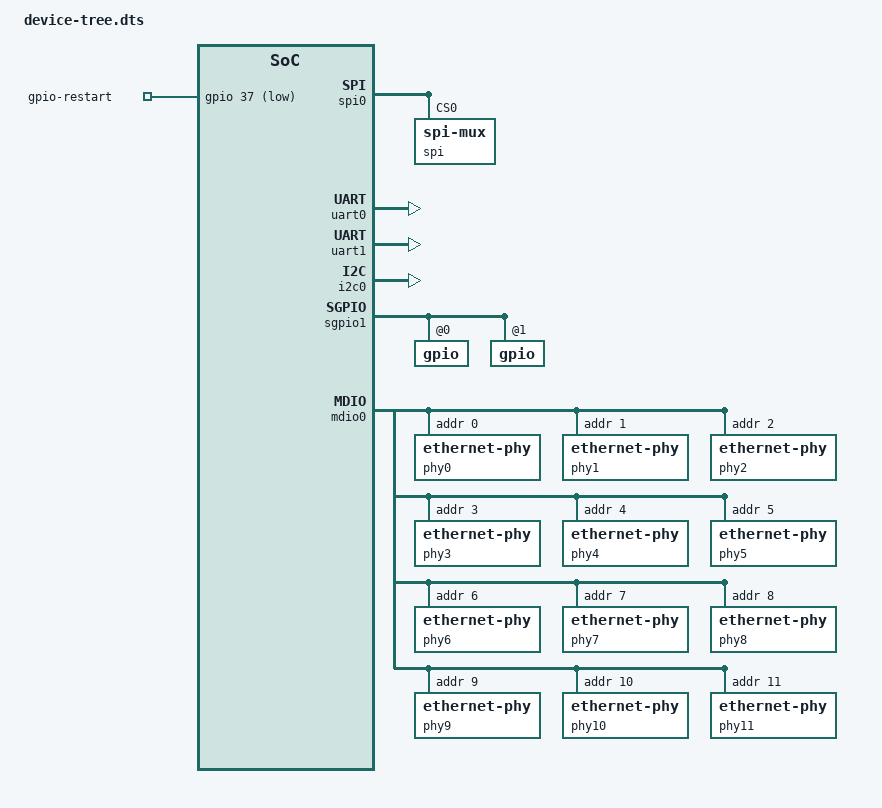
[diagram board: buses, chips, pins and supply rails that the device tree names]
/dts-v1/;

#include "microchip/sparx5.dtsi"
#include <dt-bindings/interrupt-controller/arm-gic.h>

&cpu0 {
	enable-method = "spin-table";
	cpu-release-addr = <0x0 0x0000fff8>;
};

&cpu1 {
	enable-method = "spin-table";
	cpu-release-addr = <0x0 0x0000fff8>;
};

/ {
	gpio-restart {
		compatible = "gpio-restart";
		gpios = <&gpio 37 GPIO_ACTIVE_LOW>;
		priority = <200>;
	};

	psci {
		status = "disabled";
	};
};

&spi0 {
	pinctrl-0 = <&si2_pins>;
	pinctrl-names = "default";
	status = "okay";
	spi@0 {
		compatible = "spi-mux";
		mux-controls = <&mux>;
		#address-cells = <1>;
		#size-cells = <0>;
		reg = <0>; /* CS0 */
		system_flash: spi-flash@9 {
			compatible = "jedec,spi-nor";
			spi-max-frequency = <8000000>;
			reg = <0x9>; /* SPI */
			spi-tx-bus-width = <4>;
			spi-rx-bus-width = <4>;
			#address-cells = <1>;
			#size-cells = <1>;
		};
	};
};

&uart0 {
	status = "okay";
};

&uart1 {
	status = "okay";
};

&i2c0 {
	status = "okay";
};


&gpio {
	i2cmux_pins_i: i2cmux-pins-i {
	       pins = "GPIO_35", "GPIO_36",
		      "GPIO_50", "GPIO_51";
		function = "twi_scl_m";
		output-low;
	};
	i2cmux_s29: i2cmux-0 {
		pins = "GPIO_35";
		function = "twi_scl_m";
		output-high;
	};
	i2cmux_s30: i2cmux-1 {
		pins = "GPIO_36";
		function = "twi_scl_m";
		output-high;
	};
	i2cmux_s31: i2cmux-2 {
		pins = "GPIO_50";
		function = "twi_scl_m";
		output-high;
	};
	i2cmux_s32: i2cmux-3 {
		pins = "GPIO_51";
		function = "twi_scl_m";
		output-high;
	};
};

&sgpio1 {
	status = "okay";
	microchip,sgpio-port-ranges = <24 31>;
	gpio@0 {
		ngpios = <64>;
	};
	gpio@1 {
		ngpios = <64>;
	};
};

&mdio0 {
	status = "ok";
	phy0: ethernet-phy@0 {
		reg = <0>;
	};
	phy1: ethernet-phy@1 {
		reg = <1>;
	};
	phy2: ethernet-phy@2 {
		reg = <2>;
	};
	phy3: ethernet-phy@3 {
		reg = <3>;
	};
	phy4: ethernet-phy@4 {
		reg = <4>;
	};
	phy5: ethernet-phy@5 {
		reg = <5>;
	};
	phy6: ethernet-phy@6 {
		reg = <6>;
	};
	phy7: ethernet-phy@7 {
		reg = <7>;
	};
	phy8: ethernet-phy@8 {
		reg = <8>;
	};
	phy9: ethernet-phy@9 {
		reg = <9>;
	};
	phy10: ethernet-phy@10 {
		reg = <10>;
	};
	phy11: ethernet-phy@11 {
		reg = <11>;
	};
};

&switch {
	ethernet-ports {
		#address-cells = <1>;
		#size-cells = <0>;

		port1: port@0 {
			reg = <0>;
			label = "eth1";
			microchip,bandwidth = <1000>;
			phys = <&serdes 13>;
			phy-handle = <&phy0>;
			phy-mode = "qsgmii";
		};
		port2: port@1 {
			reg = <1>;
			label = "eth2";
			microchip,bandwidth = <1000>;
			phys = <&serdes 13>;
			phy-handle = <&phy1>;
			phy-mode = "qsgmii";
		};
		port3: port@2 {
			reg = <2>;
			label = "eth3";
			microchip,bandwidth = <1000>;
			phys = <&serdes 13>;
			phy-handle = <&phy2>;
			phy-mode = "qsgmii";
		};
		port4: port@3 {
			reg = <3>;
			label = "eth4";
			microchip,bandwidth = <1000>;
			phys = <&serdes 13>;
			phy-handle = <&phy3>;
			phy-mode = "qsgmii";
		};
		port5: port@4 {
			reg = <4>;
			label = "eth5";
			microchip,bandwidth = <1000>;
			phys = <&serdes 14>;
			phy-handle = <&phy4>;
			phy-mode = "qsgmii";
		};
		port6: port@5 {
			reg = <5>;
			label = "eth6";
			microchip,bandwidth = <1000>;
			phys = <&serdes 14>;
			phy-handle = <&phy5>;
			phy-mode = "qsgmii";
		};
		port7: port@6 {
			reg = <6>;
			label = "eth7";
			microchip,bandwidth = <1000>;
			phys = <&serdes 14>;
			phy-handle = <&phy6>;
			phy-mode = "qsgmii";
		};
		port8: port@7 {
			reg = <7>;
			label = "eth8";
			microchip,bandwidth = <1000>;
			phys = <&serdes 14>;
			phy-handle = <&phy7>;
			phy-mode = "qsgmii";
		};
		port9: port@8 {
			reg = <8>;
			label = "eth9";
			microchip,bandwidth = <1000>;
			phys = <&serdes 15>;
			phy-handle = <&phy8>;
			phy-mode = "qsgmii";
		};
		port10: port@9 {
			reg = <9>;
			label = "eth10";
			microchip,bandwidth = <1000>;
			phys = <&serdes 15>;
			phy-handle = <&phy9>;
			phy-mode = "qsgmii";
		};
		port11: port@10 {
			reg = <10>;
			label = "eth11";
			microchip,bandwidth = <1000>;
			phys = <&serdes 15>;
			phy-handle = <&phy10>;
			phy-mode = "qsgmii";
		};
		port12: port@11 {
			reg = <11>;
			label = "eth12";
			microchip,bandwidth = <1000>;
			phys = <&serdes 15>;
			phy-handle = <&phy11>;
			phy-mode = "qsgmii";
		};
	};
};

#include <common/system-flash/128M-dual.dtsi>
